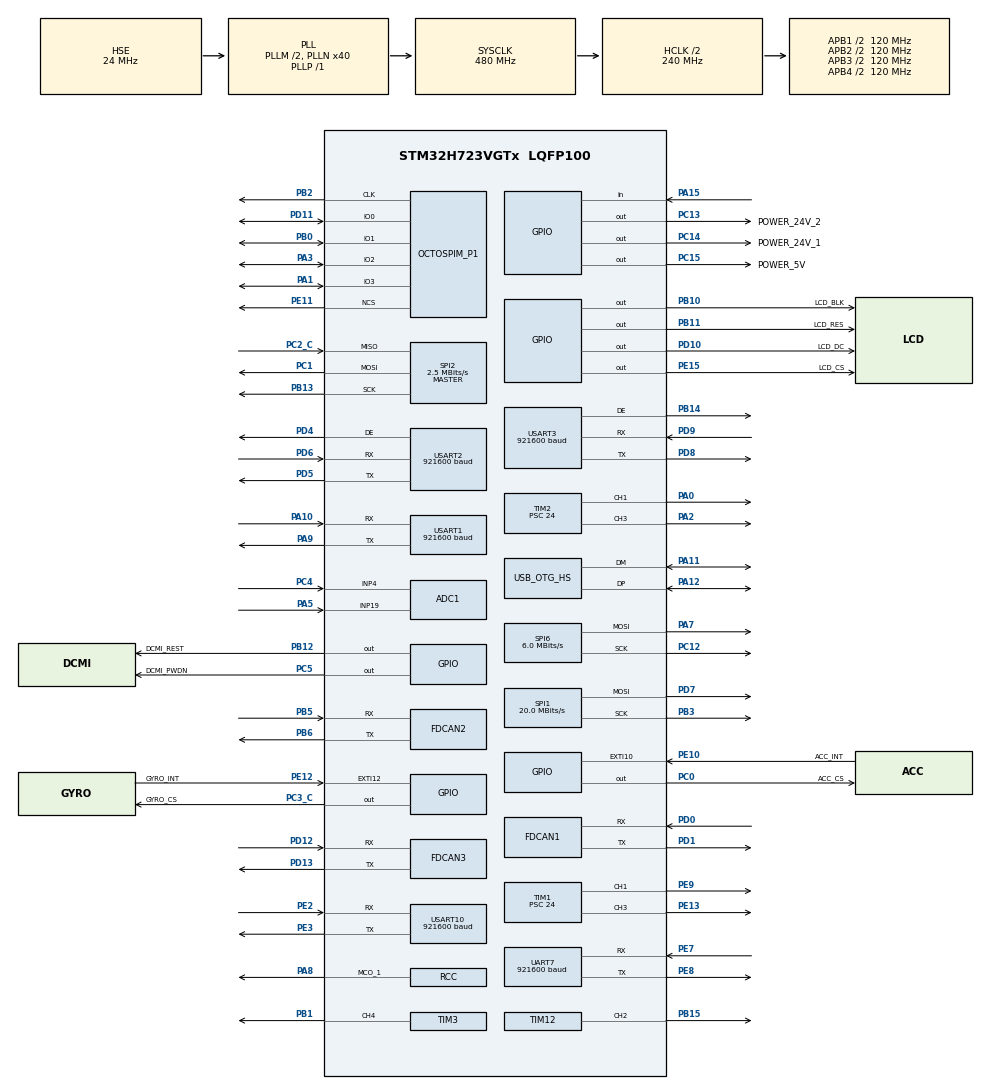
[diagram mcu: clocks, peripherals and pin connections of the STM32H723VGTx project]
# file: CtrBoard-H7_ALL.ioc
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ADC1.Channel-0\#ChannelRegularConversion=ADC_CHANNEL_4
ADC1.Channel-1\#ChannelRegularConversion=ADC_CHANNEL_19
ADC1.ClockPrescaler=ADC_CLOCK_ASYNC_DIV64
ADC1.ContinuousConvMode=ENABLE
ADC1.ConversionDataManagement=ADC_CONVERSIONDATA_DMA_CIRCULAR
ADC1.NbrOfConversion=2
ADC1.NbrOfConversionFlag=1
ADC1.OffsetNumber-0\#ChannelRegularConversion=ADC_OFFSET_NONE
ADC1.OffsetNumber-1\#ChannelRegularConversion=ADC_OFFSET_NONE
ADC1.OffsetSignedSaturation-0\#ChannelRegularConversion=DISABLE
ADC1.OffsetSignedSaturation-1\#ChannelRegularConversion=DISABLE
ADC1.Rank-0\#ChannelRegularConversion=1
ADC1.Rank-1\#ChannelRegularConversion=2
ADC1.SamplingTime-0\#ChannelRegularConversion=ADC_SAMPLETIME_32CYCLES_5
ADC1.SamplingTime-1\#ChannelRegularConversion=ADC_SAMPLETIME_32CYCLES_5
ADC1.master=1
CORTEX_M7.BaseAddress-Cortex_Memory_Protection_Unit_Region0_Settings=0x24000000
CORTEX_M7.CPU_DCache=Disabled
CORTEX_M7.CPU_ICache=Disabled
CORTEX_M7.Enable-Cortex_Memory_Protection_Unit_Region0_Settings=MPU_REGION_ENABLE
CORTEX_M7.IsBufferable-Cortex_Memory_Protection_Unit_Region0_Settings=MPU_ACCESS_BUFFERABLE
CORTEX_M7.IsCacheable-Cortex_Memory_Protection_Unit_Region0_Settings=MPU_ACCESS_CACHEABLE
CORTEX_M7.MPU_Control=__NULL
CORTEX_M7.Size-Cortex_Memory_Protection_Unit_Region0_Settings=MPU_REGION_SIZE_512B
CORTEX_M7.TypeExtField-Cortex_Memory_Protection_Unit_Region0_Settings=MPU_TEX_LEVEL1
Dma.ADC1.0.Direction=DMA_PERIPH_TO_MEMORY
Dma.ADC1.0.EventEnable=DISABLE
Dma.ADC1.0.FIFOMode=DMA_FIFOMODE_DISABLE
Dma.ADC1.0.Instance=DMA1_Stream0
Dma.ADC1.0.MemDataAlignment=DMA_MDATAALIGN_HALFWORD
Dma.ADC1.0.MemInc=DMA_MINC_ENABLE
Dma.ADC1.0.Mode=DMA_CIRCULAR
Dma.ADC1.0.PeriphDataAlignment=DMA_PDATAALIGN_HALFWORD
Dma.ADC1.0.PeriphInc=DMA_PINC_DISABLE
Dma.ADC1.0.Polarity=HAL_DMAMUX_REQ_GEN_RISING
Dma.ADC1.0.Priority=DMA_PRIORITY_LOW
Dma.ADC1.0.RequestNumber=1
Dma.ADC1.0.SignalID=NONE
Dma.ADC1.0.SyncEnable=DISABLE
Dma.ADC1.0.SyncPolarity=HAL_DMAMUX_SYNC_NO_EVENT
Dma.ADC1.0.SyncRequestNumber=1
Dma.ADC1.0.SyncSignalID=NONE
Dma.Request0=ADC1
FDCAN1.AutoRetransmission=ENABLE
FDCAN1.CalculateBaudRateNominal=1000000
FDCAN1.CalculateTimeBitNominal=1000
FDCAN1.CalculateTimeQuantumNominal=12.5
FDCAN1.DataSyncJumpWidth=2
FDCAN1.DataTimeSeg1=13
FDCAN1.DataTimeSeg2=2
FDCAN1.ExtFiltersNbr=4
FDCAN1.FrameFormat=FDCAN_FRAME_FD_BRS
FDCAN1.NominalPrescaler=1
FDCAN1.NominalSyncJumpWidth=20
FDCAN1.NominalTimeSeg1=59
FDCAN1.NominalTimeSeg2=20
FDCAN1.ProtocolException=ENABLE
FDCAN1.RxBuffersNbr=2
FDCAN1.RxFifo0ElmtsNbr=10
FDCAN1.RxFifo1ElmtsNbr=10
FDCAN1.StdFiltersNbr=4
FDCAN1.TxBuffersNbr=10
FDCAN1.TxEventsNbr=10
FDCAN1.TxFifoQueueElmtsNbr=10
FDCAN2.CalculateBaudRateNominal=666666
FDCAN2.CalculateTimeBitNominal=1500
FDCAN2.CalculateTimeQuantumNominal=300.0
FDCAN2.MessageRAMOffset=0x406
FDCAN2.NominalPrescaler=24
FDCAN2.RxFifo0ElmtsNbr=32
FDCAN2.StdFiltersNbr=1
FDCAN2.TxFifoQueueElmtsNbr=32
FDCAN3.CalculateBaudRateNominal=666666
FDCAN3.CalculateTimeBitNominal=1500
FDCAN3.CalculateTimeQuantumNominal=300.0
FDCAN3.MessageRAMOffset=0x812
FDCAN3.NominalPrescaler=24
FDCAN3.RxFifo0ElmtsNbr=32
FDCAN3.StdFiltersNbr=1
FDCAN3.TxFifoQueueElmtsNbr=32
FREERTOS.INCLUDE_eTaskGetState=1
FREERTOS.INCLUDE_uxTaskGetStackHighWaterMark=1
FREERTOS.INCLUDE_vTaskDelayUntil=1
FREERTOS.INCLUDE_xQueueGetMutexHolder=1
FREERTOS.INCLUDE_xTaskGetCurrentTaskHandle=1
FREERTOS.INCLUDE_xTimerPendFunctionCall=1
FREERTOS.Tasks01=defaultTask,0,128,StartDefaultTask,Default,NULL,Dynamic,NULL,NULL;KeyTask,3,128,KeyTask_Entry,As weak,NULL,Static,KeyTaskBuffer,KeyTaskControlBlock;LcdTask,0,256,LcdTask_Entry,As weak,NULL,Static,LcdTaskBuffer,LcdTaskControlBlock;ImuTask,2,1024,ImuTask_Entry,As weak,NULL,Static,ImuTaskBuffer,ImuTaskControlBlock;FunTest,-1,128,FunTest_Entry,As weak,NULL,Static,FunTestBuffer,FunTestControlBlock
FREERTOS.configENABLE_FPU=1
FREERTOS.configUSE_COUNTING_SEMAPHORES=1
FREERTOS.configUSE_RECURSIVE_MUTEXES=1
FREERTOS.configUSE_TIMERS=1
FREERTOS.configUSE_TRACE_FACILITY=1
Mcu.Family=STM32H7
Mcu.Name=STM32H723VGTx
Mcu.Package=LQFP100
NVIC.DMA1_Stream0_IRQn=true\:5\:0\:false\:false\:true\:false\:false\:true\:true
NVIC.FDCAN1_IT0_IRQn=true\:5\:0\:false\:false\:true\:true\:true\:true\:true
NVIC.FDCAN1_IT1_IRQn=true\:5\:0\:false\:false\:true\:true\:true\:true\:true
NVIC.FDCAN2_IT0_IRQn=true\:5\:0\:false\:false\:true\:true\:true\:true\:true
NVIC.FDCAN2_IT1_IRQn=true\:5\:0\:false\:false\:true\:true\:true\:true\:true
NVIC.FDCAN3_IT0_IRQn=true\:5\:0\:false\:false\:true\:true\:true\:true\:true
NVIC.FDCAN3_IT1_IRQn=true\:5\:0\:false\:false\:true\:true\:true\:true\:true
NVIC.OTG_HS_IRQn=true\:5\:0\:false\:false\:true\:true\:false\:true\:true
NVIC.PriorityGroup=NVIC_PRIORITYGROUP_4
NVIC.TIM23_IRQn=true\:15\:0\:false\:false\:true\:false\:false\:true\:true
NVIC.TimeBase=TIM23_IRQn
NVIC.TimeBaseIP=TIM23
NVIC.UART7_IRQn=true\:5\:0\:true\:false\:true\:false\:true\:true\:true
NVIC.USART10_IRQn=true\:5\:0\:true\:false\:true\:false\:true\:true\:true
NVIC.USART1_IRQn=true\:5\:0\:true\:false\:true\:false\:true\:true\:true
NVIC.USART2_IRQn=true\:5\:0\:true\:false\:true\:false\:true\:true\:true
NVIC.USART3_IRQn=true\:5\:0\:true\:false\:true\:false\:true\:true\:true
OCTOSPI2.ClockMode=HAL_OSPI_CLOCK_MODE_3
OCTOSPI2.ClockPrescaler=3
OCTOSPI2.DeviceSize=23
OCTOSPI2.DeviceType=SPI_DEVICE_FLASH
OCTOSPI2.FifoThreshold=8
OCTOSPI2.SampleShifting=HAL_OSPI_SAMPLE_SHIFTING_HALFCYCLE
PA0.Signal=S_TIM2_CH1_ETR
PA1.Mode=OCTOSPI2_IOL_Port1L
PA1.Signal=OCTOSPIM_P1_IO3
PA10.Mode=Asynchronous
PA10.Signal=USART1_RX
PA11.Mode=Device_Only_FS
PA11.Signal=USB_OTG_HS_DM
PA12.Mode=Device_Only_FS
PA12.Signal=USB_OTG_HS_DP
PA13(JTMS/SWDIO).Mode=Serial_Wire
PA13(JTMS/SWDIO).Signal=DEBUG_JTMS-SWDIO
PA14(JTCK/SWCLK).Mode=Serial_Wire
PA14(JTCK/SWCLK).Signal=DEBUG_JTCK-SWCLK
PA15(JTDI).Signal=GPIO_Input
PA2.Signal=S_TIM2_CH3
PA3.Mode=OCTOSPI2_IOL_Port1L
PA3.Signal=OCTOSPIM_P1_IO2
PA5.Signal=ADCx_INP19
PA7.Mode=TX_Only_Simplex_Unidirect_Master
PA7.Signal=SPI6_MOSI
PA8.Mode=Clock-out-1
PA8.Signal=RCC_MCO_1
PA9.Mode=Asynchronous
PA9.Signal=USART1_TX
PB0.Mode=OCTOSPI2_IOL_Port1L
PB0.Signal=OCTOSPIM_P1_IO1
PB1.Signal=S_TIM3_CH4
PB10.GPIO_Label=LCD_BLK
PB10.Signal=GPIO_Output
PB11.GPIO_Label=LCD_RES
PB11.Signal=GPIO_Output
PB12.GPIO_Label=DCMI_REST
PB12.GPIO_PuPd=GPIO_PULLUP
PB12.GPIO_Speed=GPIO_SPEED_FREQ_VERY_HIGH
PB12.PinState=GPIO_PIN_SET
PB12.Signal=GPIO_Output
PB13.GPIO_Speed=GPIO_SPEED_FREQ_VERY_HIGH
PB13.Mode=Full_Duplex_Master
PB13.Signal=SPI2_SCK
PB14.Mode=Hardware Flow Control (RS485)
PB14.Signal=USART3_DE
PB15.Signal=S_TIM12_CH2
PB2.Mode=O2_P1_CLK
PB2.Signal=OCTOSPIM_P1_CLK
PB3(JTDO/TRACESWO).GPIO_Speed=GPIO_SPEED_FREQ_VERY_HIGH
PB3(JTDO/TRACESWO).Mode=TX_Only_Simplex_Unidirect_Master
PB3(JTDO/TRACESWO).Signal=SPI1_SCK
PB5.Mode=FDCAN_Activate
PB5.Signal=FDCAN2_RX
PB6.Mode=FDCAN_Activate
PB6.Signal=FDCAN2_TX
PC0.GPIO_Label=ACC_CS
PC0.GPIO_Speed=GPIO_SPEED_FREQ_VERY_HIGH
PC0.PinState=GPIO_PIN_SET
PC0.Signal=GPIO_Output
PC1.GPIO_Speed=GPIO_SPEED_FREQ_VERY_HIGH
PC1.Mode=Full_Duplex_Master
PC1.Signal=SPI2_MOSI
PC12.Mode=TX_Only_Simplex_Unidirect_Master
PC12.Signal=SPI6_SCK
PC13.GPIO_Label=POWER_24V_2
PC13.PinState=GPIO_PIN_SET
PC13.Signal=GPIO_Output
PC14-OSC32_IN.GPIO_Label=POWER_24V_1
PC14-OSC32_IN.PinState=GPIO_PIN_SET
PC14-OSC32_IN.Signal=GPIO_Output
PC15-OSC32_OUT.GPIO_Label=POWER_5V
PC15-OSC32_OUT.PinState=GPIO_PIN_SET
PC15-OSC32_OUT.Signal=GPIO_Output
PC2_C.GPIO_Speed=GPIO_SPEED_FREQ_VERY_HIGH
PC2_C.Mode=Full_Duplex_Master
PC2_C.Signal=SPI2_MISO
PC3_C.GPIO_Label=GYRO_CS
PC3_C.GPIO_Speed=GPIO_SPEED_FREQ_VERY_HIGH
PC3_C.PinState=GPIO_PIN_SET
PC3_C.Signal=GPIO_Output
PC4.Signal=ADCx_INP4
PC5.GPIO_Label=DCMI_PWDN
PC5.GPIO_PuPd=GPIO_NOPULL
PC5.GPIO_Speed=GPIO_SPEED_FREQ_VERY_HIGH
PC5.PinState=GPIO_PIN_SET
PC5.Signal=GPIO_Output
PD0.Mode=FDCAN_Activate
PD0.Signal=FDCAN1_RX
PD1.Mode=FDCAN_Activate
PD1.Signal=FDCAN1_TX
PD10.GPIO_Label=LCD_DC
PD10.Signal=GPIO_Output
PD11.Mode=OCTOSPI2_IOL_Port1L
PD11.Signal=OCTOSPIM_P1_IO0
PD12.Mode=FDCAN_Activate
PD12.Signal=FDCAN3_RX
PD13.Mode=FDCAN_Activate
PD13.Signal=FDCAN3_TX
PD4.Mode=Hardware Flow Control (RS485)
PD4.Signal=USART2_DE
PD5.Mode=Asynchronous
PD5.Signal=USART2_TX
PD6.Mode=Asynchronous
PD6.Signal=USART2_RX
PD7.GPIO_Speed=GPIO_SPEED_FREQ_VERY_HIGH
PD7.Mode=TX_Only_Simplex_Unidirect_Master
PD7.Signal=SPI1_MOSI
PD8.Mode=Asynchronous
PD8.Signal=USART3_TX
PD9.Mode=Asynchronous
PD9.Signal=USART3_RX
PE10.GPIO_Label=ACC_INT
PE10.Signal=GPXTI10
PE11.Mode=OCTOSPI2_Port1_NCS
PE11.Signal=OCTOSPIM_P1_NCS
PE12.GPIO_Label=GYRO_INT
PE12.Signal=GPXTI12
PE13.Signal=S_TIM1_CH3
PE15.GPIO_Label=LCD_CS
PE15.Signal=GPIO_Output
PE2.Mode=Asynchronous
PE2.Signal=USART10_RX
PE3.Mode=Asynchronous
PE3.Signal=USART10_TX
PE7.Mode=Asynchronous
PE7.Signal=UART7_RX
PE8.Mode=Asynchronous
PE8.Signal=UART7_TX
PE9.Signal=S_TIM1_CH1
PH0-OSC_IN.Mode=HSE-External-Oscillator
PH0-OSC_IN.Signal=RCC_OSC_IN
PH1-OSC_OUT.Mode=HSE-External-Oscillator
PH1-OSC_OUT.Signal=RCC_OSC_OUT
ProjectManager.HeapSize=0x2000
ProjectManager.StackSize=0x800
ProjectManager.TargetToolchain=MDK-ARM V5.27
RCC.ADCFreq_Value=96000000
RCC.APB1Freq_Value=120000000
RCC.APB2Freq_Value=120000000
RCC.APB3Freq_Value=120000000
RCC.APB4Freq_Value=120000000
RCC.CortexFreq_Value=480000000
RCC.D1PPRE=RCC_APB3_DIV2
RCC.D2PPRE1=RCC_APB1_DIV2
RCC.D2PPRE2=RCC_APB2_DIV2
RCC.D3PPRE=RCC_APB4_DIV2
RCC.DIVM1=2
RCC.DIVM2=2
RCC.DIVN1=40
RCC.DIVN2=16
RCC.DIVP1=1
RCC.DIVQ1=6
RCC.EnbaleCSS=false
RCC.HCLKFreq_Value=240000000
RCC.HPRE=RCC_HCLK_DIV2
RCC.HSE_VALUE=24000000
RCC.PLL2FRACN=0
RCC.PLL2_VCI_Range-AdvancedSettings=RCC_PLL2VCIRANGE_0
RCC.PLL2_VCO_SEL-AdvancedSettings=RCC_PLL2VCOWIDE
RCC.PLL3FRACN=0
RCC.PLL3_VCO_SEL-AdvancedSettings=RCC_PLL3VCOMEDIUM
RCC.PLLFRACN=0
RCC.PLLSourceVirtual=RCC_PLLSOURCE_HSE
RCC.SPI6CLockSelection=RCC_SPI6CLKSOURCE_HSE
RCC.SYSCLKFreq_VALUE=480000000
RCC.SYSCLKSource=RCC_SYSCLKSOURCE_PLLCLK
RCC.USBCLockSelection=RCC_USBCLKSOURCE_HSI48
RCC.USBFreq_Value=48000000
SH.ADCx_INP19.0=ADC1_INP19,IN19-Single-Ended
SH.ADCx_INP4.0=ADC1_INP4,IN4-Single-Ended
SH.S_TIM12_CH2.0=TIM12_CH2,PWM Generation2 CH2
SH.S_TIM1_CH1.0=TIM1_CH1,PWM Generation1 CH1
SH.S_TIM1_CH3.0=TIM1_CH3,PWM Generation3 CH3
SH.S_TIM2_CH1_ETR.0=TIM2_CH1,PWM Generation1 CH1
SH.S_TIM2_CH3.0=TIM2_CH3,PWM Generation3 CH3
SH.S_TIM3_CH4.0=TIM3_CH4,PWM Generation4 CH4
SPI1.BaudRatePrescaler=SPI_BAUDRATEPRESCALER_4
SPI1.CLKPolarity=SPI_POLARITY_HIGH
SPI1.CalculateBaudRate=20.0 MBits/s
SPI1.DataSize=SPI_DATASIZE_8BIT
SPI1.Direction=SPI_DIRECTION_2LINES_TXONLY
SPI1.Mode=SPI_MODE_MASTER
SPI1.VirtualType=VM_MASTER
SPI2.BaudRatePrescaler=SPI_BAUDRATEPRESCALER_32
SPI2.CLKPhase=SPI_PHASE_2EDGE
SPI2.CLKPolarity=SPI_POLARITY_HIGH
SPI2.CalculateBaudRate=2.5 MBits/s
SPI2.DataSize=SPI_DATASIZE_8BIT
SPI2.Direction=SPI_DIRECTION_2LINES
SPI2.Mode=SPI_MODE_MASTER
SPI2.VirtualType=VM_MASTER
SPI6.BaudRatePrescaler=SPI_BAUDRATEPRESCALER_4
SPI6.CLKPhase=SPI_PHASE_2EDGE
SPI6.CalculateBaudRate=6.0 MBits/s
SPI6.DataSize=SPI_DATASIZE_8BIT
SPI6.Direction=SPI_DIRECTION_2LINES_TXONLY
SPI6.Mode=SPI_MODE_MASTER
SPI6.VirtualType=VM_MASTER
TIM1.Channel-PWM\ Generation1\ CH1=TIM_CHANNEL_1
TIM1.Channel-PWM\ Generation3\ CH3=TIM_CHANNEL_3
TIM1.Period=10000
TIM1.Prescaler=24
TIM1.Pulse-PWM\ Generation1\ CH1=5000
TIM1.Pulse-PWM\ Generation3\ CH3=5000
TIM12.Channel-PWM\ Generation2\ CH2=TIM_CHANNEL_2
TIM12.Period=2000-1
TIM12.Prescaler=24-1
TIM2.Channel-PWM\ Generation1\ CH1=TIM_CHANNEL_1
TIM2.Channel-PWM\ Generation3\ CH3=TIM_CHANNEL_3
TIM2.Period=10000
TIM2.Prescaler=24
TIM2.Pulse-PWM\ Generation1\ CH1=5000
TIM2.Pulse-PWM\ Generation3\ CH3=5000
TIM3.AutoReloadPreload=TIM_AUTORELOAD_PRELOAD_ENABLE
TIM3.Channel-PWM\ Generation4\ CH4=TIM_CHANNEL_4
TIM3.Period=10000-1
TIM3.Prescaler=24-1
UART7.BaudRate=921600
USART1.BaudRate=921600
USART1.VirtualMode-Asynchronous=VM_ASYNC
USART10.BaudRate=921600
USART10.VirtualMode=VM_ASYNC
USART2.BaudRate=921600
USART2.VirtualMode-Asynchronous=VM_ASYNC
USART2.VirtualMode-Hardware\ Flow\ Control\ (RS485)=VM_ASYNC
USART3.BaudRate=921600
USART3.VirtualMode-Asynchronous=VM_ASYNC
USART3.VirtualMode-Hardware\ Flow\ Control\ (RS485)=VM_ASYNC
USB_DEVICE.CLASS_NAME_HS=CDC
USB_DEVICE.VirtualMode=Cdc
USB_DEVICE.VirtualModeHS=Cdc_HS
USB_OTG_HS.VirtualMode-Device_Only_FS=Device_Only_FS
VP_FREERTOS_VS_CMSIS_V1.Mode=CMSIS_V1
VP_OCTOSPI2_VS_quad.Mode=quad_mode
VP_SYS_VS_tim23.Mode=TIM23
VP_USB_DEVICE_VS_USB_DEVICE_CDC_HS.Mode=CDC_HS
board=custom

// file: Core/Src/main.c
/* USER CODE BEGIN Header */
/**
  ******************************************************************************
  * @file           : main.c
  * @brief          : Main program body
  ******************************************************************************
  * @attention
  *
  * Copyright (c) 2024 STMicroelectronics.
  * All rights reserved.
  *
  * This software is licensed under terms that can be found in the LICENSE file
  * in the root directory of this software component.
  * If no LICENSE file comes with this software, it is provided AS-IS.
  *
  ******************************************************************************
  */
/* USER CODE END Header */
#include "main.h"
#include "cmsis_os.h"
#include "adc.h"
#include "dma.h"
#include "fdcan.h"
#include "octospi.h"
#include "spi.h"
#include "tim.h"
#include "usart.h"
#include "usb_device.h"
#include "gpio.h"

/* USER CODE BEGIN Includes */
#include "vofa.h"
#include "w25q64.h"
#include <stdio.h>
#include <string.h>
#include "bsp_fdcan.h"
/* USER CODE END Includes */

/* USER CODE BEGIN PD */
#define RESPONSE_OK(__MODE__) do {\
  memset(tx_temp_buffer, 0, RX_LEN);\
  memcpy(tx_temp_buffer, __MODE__, status_code_len);\
  tx_temp_buffer[status_code_len + 1] = '\r';\
  tx_temp_buffer[status_code_len + 2] = 0;\
  HAL_UART_Transmit(&huart1, tx_temp_buffer, status_code_len + 2, 100);\
} while (0);
/* USER CODE END PD */

/* USER CODE BEGIN PV */
#define W25Qxx_NumByteToTest   	32*1024					// 测试数据的长度，32K

int32_t OSPI_Status; 		 //检测标志位

uint8_t  W25Qxx_WriteBuffer[W25Qxx_NumByteToTest];		//	写数据数组
uint8_t  W25Qxx_ReadBuffer[W25Qxx_NumByteToTest];		//	读数据数组

// **********************************缓冲区定义**********************************
#define RX_LEN 32*8*4 // 1KB接收缓冲区大小
__attribute__((aligned(32))) uint8_t rx_buffer[RX_LEN]; // H7要求32字节对齐
uint8_t tx_temp_buffer[RX_LEN]; // 发送1次时的缓冲区
uint8_t can1_id[6] = {0x01, 0x02, 0x03, 0x04, 0x05, 0x06}; // CAN1~6号CAN ID
uint8_t can1_tx_data[8] = {0x7F, 0xFF, 0x7F, 0xF0, 0x00, 0x00, 0x07, 0xFF}; // CAN1发送数据缓冲区
const char *cmd_ok = "CMDOK"; // 命令执行成功响应
const char *can_ok = "CANOK"; // CAN执行成功响应
const char *power_ok = "PWROK"; // 电源执行成功响应
const char *cmd_err = "ERROR"; // 命令执行失败响应
char *dm_init_status = "dmok1";
uint8_t status_code_len = 5;
const char *prefix = "Recv:"; // 接收数据前缀
uint8_t prefix_len = 0; // 前缀长度
uint8_t can_send_req_flag = 0; // 发送CAN数据请求标志位，volatile防止编译器优化
uint8_t can_data_buffer[RX_LEN]; // CAN接收数据缓冲区，存储STM32接收到的数据
extern uint8_t rx_data1[8]; // CAN1接收数据缓冲区，存储STM32接收到的数据
uint8_t last_can_rx_data1[8] = {0};
// uint16_t uart1_rx_size = 0;
uint8_t pos_code = 0;
// **********************************缓冲区定义**********************************
/* USER CODE END PV */

void SystemClock_Config(void);
void MX_FREERTOS_Init(void);

/* USER CODE BEGIN 0 */
/***************************************************************************************************
*	函数名称: OSPI_W25Qxx_Test
*	输入参数: 无
*	返回值: OSPI_W25Qxx_OK - 操作成功通过
*	函数功能: 测试外部SPI Flash的读写速度
*	说明    : 无
***************************************************************************************************/

int8_t OSPI_W25Qxx_Test(void)		//Flash读写测试
{
    uint32_t i = 0X8000;	// 计数变量
    uint32_t W25Qxx_TestAddr  =	0	;							// 测试地址
    uint32_t ExecutionTime_Begin;		// 开始时间
    uint32_t ExecutionTime_End;		// 结束时间
    uint32_t ExecutionTime;				// 执行时间
    float    ExecutionSpeed;			// 执行速度

// 擦除 >>>>>>>>>>>>>>>>>>>>>>>>>>>>>>>>>>>>>>>>>>>>>>>>>>>>>>>>>>>>>>>>>>>>>>>>>>>>>>>>>>>>>>

    ExecutionTime_Begin 	= HAL_GetTick();	// 获取 systick 当前时间，单位ms
    OSPI_Status 			= OSPI_W25Qxx_BlockErase_32K(W25Qxx_TestAddr);	// 擦除32K字节
    ExecutionTime_End		= HAL_GetTick();	// 获取 systick 当前时间，单位ms

    ExecutionTime = ExecutionTime_End - ExecutionTime_Begin; // 计算擦除时间，单位ms

    if( OSPI_Status == OSPI_W25Qxx_OK )
    {
        printf ("\r\nW25Q64 erase succeed, time: %d ms\r\n",ExecutionTime);
    }
    else
    {
        printf ("\r\n erase error!!!!!  ERROR CODE:%d\r\n",OSPI_Status);
        while (1);
    }

// 写入 >>>>>>>>>>>>>>>>>>>>>>>>>>>>>>>>>>>>>>>>>>>>>>>>>>>>>>>>>>>>>>>>>>>>>>>>>>>>>>>>>>>>>>

    for(i=0;i<W25Qxx_NumByteToTest;i++)  //先将数据写入数组
    {
        W25Qxx_WriteBuffer[i] = i;
    }
    ExecutionTime_Begin 	= HAL_GetTick();	// 获取 systick 当前时间，单位ms
    OSPI_Status				= OSPI_W25Qxx_WriteBuffer(W25Qxx_WriteBuffer,W25Qxx_TestAddr,W25Qxx_NumByteToTest); // 写数据
    ExecutionTime_End		= HAL_GetTick();	// 获取 systick 当前时间，单位ms

    ExecutionTime  = ExecutionTime_End - ExecutionTime_Begin; 		// 计算擦除时间，单位ms
    ExecutionSpeed = (float)W25Qxx_NumByteToTest / ExecutionTime ; // 计算写入速度，单位 KB/S
    if( OSPI_Status == OSPI_W25Qxx_OK )
    {
        printf ("\r\nwrite succeed, data size: %d KB, time: %d ms, speed: %.2f KB/s\r\n",W25Qxx_NumByteToTest/1024,ExecutionTime,ExecutionSpeed);
    }
    else
    {
        printf ("\r\nwrite error!!!!!  error code: %d\r\n",OSPI_Status);
        while (1);
    }

// 读取	>>>>>>>>>>>>>>>>>>>>>>>>>>>>>>>>>>>>>>>>>>>>>>>>>>>>>>>>>>>>>>>>>>>>>>>>>>>>>>>>>>>>>>

    ExecutionTime_Begin 	= HAL_GetTick();	// 获取 systick 当前时间，单位ms
    OSPI_Status				= OSPI_W25Qxx_ReadBuffer(W25Qxx_ReadBuffer,W25Qxx_TestAddr,W25Qxx_NumByteToTest);	// 读取数据
    ExecutionTime_End		= HAL_GetTick();	// 获取 systick 当前时间，单位ms

    ExecutionTime  = ExecutionTime_End - ExecutionTime_Begin; 					// 计算执行时间，单位ms
    ExecutionSpeed = (float)W25Qxx_NumByteToTest/1024/1024 / ExecutionTime*1000 ; 	// 计算读取速度，单位 MB/S

    if( OSPI_Status == OSPI_W25Qxx_OK )
    {
        printf ("\r\nread succeed, size: %d KB, time: %d ms, speed: %.2f MB/s \r\n",W25Qxx_NumByteToTest/1024,ExecutionTime,ExecutionSpeed);
    }
    else
    {
        printf ("\r\nread error!!!!!  error code:%d\r\n",OSPI_Status);
        while (1);
    }
// 数据校验 >>>>>>>>>>>>>>>>>>>>>>>>>>>>>>>>>>>>>>>>>>>>>>>>>>>>>>>>>>>>>>>>>>>>>>>>>>>>>>>>>>>>>>

    for(i=0;i<W25Qxx_NumByteToTest;i++)	//验证读取数据是否与写入数据一致
    {
        if( W25Qxx_WriteBuffer[i] != W25Qxx_ReadBuffer[i] )	//数据不一致，返回0
        {
            printf ("\r\ndata check error!!!!!pos: %d\r\n",i);
            while(1);
        }
    }
    printf ("\r\ncheck pass!!!!!\r\n");

// 读取整片Flash的数据，用以测试速度 >>>>>>>>>>>>>>>>>>>>>>>>>>>>>>>>>>>>>>>>>>>>>>>>>>>>>>>>>>>>>>

    printf ("\r\n*****************************************************************************************************\r\n");
    printf ("\r\nIn the above test, the data read is relatively small and takes a short time. In addition, the minimum unit of measurement is ms, and the calculated reading speed has a large error.\r\n");
    printf ("\r\nNext, read the entire flash data to test the speed. The speed error obtained in this way is relatively small.\r\n");
    printf ("\r\nread start>>>>\r\n");
    ExecutionTime_Begin 	= HAL_GetTick();	// 获取 systick 当前时间，单位ms

    for(i=0;i<W25Qxx_FlashSize/(W25Qxx_NumByteToTest);i++)	// 每次读取 W25Qxx_NumByteToTest 个字节的数据
    {
        OSPI_Status     = OSPI_W25Qxx_ReadBuffer(W25Qxx_ReadBuffer,W25Qxx_TestAddr,W25Qxx_NumByteToTest);	// 读取数据
        W25Qxx_TestAddr = W25Qxx_TestAddr + W25Qxx_NumByteToTest;
    }
    ExecutionTime_End   = HAL_GetTick();	// 获取 systick 当前时间，单位ms

    ExecutionTime       = ExecutionTime_End - ExecutionTime_Begin; 								// 计算执行时间，单位ms
    ExecutionSpeed      = (float)W25Qxx_FlashSize/1024/1024 / ExecutionTime*1000  ; 	// 计算读取速度，单位 MB/S

    if( OSPI_Status == OSPI_W25Qxx_OK )
    {
        printf ("\r\nread succeed, size: %d MB, time: %d ms, speed: %.2f MB/s \r\n",W25Qxx_FlashSize/1024/1024,ExecutionTime,ExecutionSpeed);
    }
    else
    {
        printf ("\r\nread error!!!!!  error code:%d\r\n",OSPI_Status);
        while (1);
    }

    return OSPI_W25Qxx_OK ;  // 操作成功

}

/**
  * @brief  Period elapsed callback in non blocking mode
  * @note   This function is called  when TIM23 interrupt took place, inside
  * HAL_TIM_IRQHandler(). It makes a direct call to HAL_IncTick() to increment
  * a global variable "uwTick" used as application time base.
  * @param  htim : TIM handle
  * @retval None
  */
void HAL_TIM_PeriodElapsedCallback(TIM_HandleTypeDef *htim)
{
  /* USER CODE BEGIN Callback 0 */
  /* USER CODE END Callback 0 */
  if (htim->Instance == TIM23) {
    HAL_IncTick();
  }
  /* USER CODE BEGIN Callback 1 */

  /* USER CODE END Callback 1 */
}
/* USER CODE END 0 */

int main(void)
{

  /* MCU Configuration--------------------------------------------------------*/

  /* Reset of all peripherals, Initializes the Flash interface and the Systick. */
  HAL_Init();

  /* Configure the system clock */
  SystemClock_Config();

  /* Initialize all configured peripherals */
  MX_GPIO_Init();
  MX_DMA_Init();
  MX_ADC1_Init();
  MX_TIM12_Init();
  MX_SPI1_Init();
  MX_SPI6_Init();
  MX_SPI2_Init();
  MX_TIM3_Init();
  MX_USART1_UART_Init();
  MX_USART2_UART_Init();
  MX_USART3_UART_Init();
  MX_UART7_Init();
  MX_USART10_UART_Init();
  MX_FDCAN1_Init();
  MX_FDCAN2_Init();
  MX_FDCAN3_Init();
  MX_TIM1_Init();
  MX_TIM2_Init();
  MX_OCTOSPI2_Init();
  /* USER CODE BEGIN 2 */
//    OSPI_W25Qxx_Init();     // 初始化OSPI和W25Q64
//    OSPI_W25Qxx_Test();     // Flash读写测试
  /* Power on 24V for CAN transceivers */
  HAL_GPIO_WritePin(GPIOC, POWER_24V_1_Pin, GPIO_PIN_SET);
  HAL_Delay(1000);

  /* USER CODE END 2 */

  /* Call init function for freertos objects (in freertos.c) */
  MX_FREERTOS_Init();

  /* Start scheduler */
  osKernelStart();

  /* We should never get here as control is now taken by the scheduler */
  /* Infinite loop */
  while (1)
  {

  }
}

void SystemClock_Config(void)
{
  RCC_OscInitTypeDef RCC_OscInitStruct = {0};
  RCC_ClkInitTypeDef RCC_ClkInitStruct = {0};

  /** Supply configuration update enable
  */
  HAL_PWREx_ConfigSupply(PWR_LDO_SUPPLY);

  /** Configure the main internal regulator output voltage
  */
  __HAL_PWR_VOLTAGESCALING_CONFIG(PWR_REGULATOR_VOLTAGE_SCALE0);

  while(!__HAL_PWR_GET_FLAG(PWR_FLAG_VOSRDY)) {}

  /** Initializes the RCC Oscillators according to the specified parameters
  * in the RCC_OscInitTypeDef structure.
  */
  RCC_OscInitStruct.OscillatorType = RCC_OSCILLATORTYPE_HSI48|RCC_OSCILLATORTYPE_HSI
                              |RCC_OSCILLATORTYPE_HSE;
  RCC_OscInitStruct.HSEState = RCC_HSE_ON;
  RCC_OscInitStruct.HSIState = RCC_HSI_DIV1;
  RCC_OscInitStruct.HSICalibrationValue = 64;
  RCC_OscInitStruct.HSI48State = RCC_HSI48_ON;
  RCC_OscInitStruct.PLL.PLLState = RCC_PLL_ON;
  RCC_OscInitStruct.PLL.PLLSource = RCC_PLLSOURCE_HSE;
  RCC_OscInitStruct.PLL.PLLM = 2;
  RCC_OscInitStruct.PLL.PLLN = 40;
  RCC_OscInitStruct.PLL.PLLP = 1;
  RCC_OscInitStruct.PLL.PLLQ = 6;
  RCC_OscInitStruct.PLL.PLLR = 2;
  RCC_OscInitStruct.PLL.PLLRGE = RCC_PLL1VCIRANGE_3;
  RCC_OscInitStruct.PLL.PLLVCOSEL = RCC_PLL1VCOWIDE;
  RCC_OscInitStruct.PLL.PLLFRACN = 0;
  if (HAL_RCC_OscConfig(&RCC_OscInitStruct) != HAL_OK)
  {
    Error_Handler();
  }

  /** Initializes the CPU, AHB and APB buses clocks
  */
  RCC_ClkInitStruct.ClockType = RCC_CLOCKTYPE_HCLK|RCC_CLOCKTYPE_SYSCLK
                              |RCC_CLOCKTYPE_PCLK1|RCC_CLOCKTYPE_PCLK2
                              |RCC_CLOCKTYPE_D3PCLK1|RCC_CLOCKTYPE_D1PCLK1;
  RCC_ClkInitStruct.SYSCLKSource = RCC_SYSCLKSOURCE_PLLCLK;
  RCC_ClkInitStruct.SYSCLKDivider = RCC_SYSCLK_DIV1;
  RCC_ClkInitStruct.AHBCLKDivider = RCC_HCLK_DIV2;
  RCC_ClkInitStruct.APB3CLKDivider = RCC_APB3_DIV2;
  RCC_ClkInitStruct.APB1CLKDivider = RCC_APB1_DIV2;
  RCC_ClkInitStruct.APB2CLKDivider = RCC_APB2_DIV2;
  RCC_ClkInitStruct.APB4CLKDivider = RCC_APB4_DIV2;

  if (HAL_RCC_ClockConfig(&RCC_ClkInitStruct, FLASH_LATENCY_3) != HAL_OK)
  {
    Error_Handler();
  }
  HAL_RCC_MCOConfig(RCC_MCO1, RCC_MCO1SOURCE_HSI, RCC_MCODIV_1);
}

/* USER CODE END 4 */

void Error_Handler(void)
{
  __disable_irq();
  while (1)
  {
	}
}

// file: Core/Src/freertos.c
/* USER CODE BEGIN Header */
/**
  ******************************************************************************
  * File Name          : freertos.c
  * Description        : Code for freertos applications
  ******************************************************************************
  * @attention
  *
  * Copyright (c) 2024 STMicroelectronics.
  * All rights reserved.
  *
  * This software is licensed under terms that can be found in the LICENSE file
  * in the root directory of this software component.
  * If no LICENSE file comes with this software, it is provided AS-IS.
  *
  ******************************************************************************
  */
/* USER CODE END Header */

#include "FreeRTOS.h"
#include "task.h"
#include "main.h"
#include "cmsis_os.h"

osThreadId defaultTaskHandle;
osThreadId KeyTaskHandle;
uint32_t KeyTaskBuffer[ 128 ];
osStaticThreadDef_t KeyTaskControlBlock;
osThreadId LcdTaskHandle;
uint32_t LcdTaskBuffer[ 256 ];
osStaticThreadDef_t LcdTaskControlBlock;
osThreadId ImuTaskHandle;
uint32_t ImuTaskBuffer[ 1024 ];
osStaticThreadDef_t ImuTaskControlBlock;
osThreadId MotorTaskHandle;
uint32_t MotorTaskBuffer[ 512 ];
osStaticThreadDef_t MotorTaskControlBlock;

void StartDefaultTask(void const * argument);
void KeyTask_Entry(void const * argument);
void LcdTask_Entry(void const * argument);
void ImuTask_Entry(void const * argument);
void MotorTask_Entry(void const * argument);

extern void MX_USB_DEVICE_Init(void);
void MX_FREERTOS_Init(void); /* (MISRA C 2004 rule 8.1) */

/* GetIdleTaskMemory prototype (linked to static allocation support) */
void vApplicationGetIdleTaskMemory( StaticTask_t **ppxIdleTaskTCBBuffer, StackType_t **ppxIdleTaskStackBuffer, uint32_t *pulIdleTaskStackSize );

/* GetTimerTaskMemory prototype (linked to static allocation support) */
void vApplicationGetTimerTaskMemory( StaticTask_t **ppxTimerTaskTCBBuffer, StackType_t **ppxTimerTaskStackBuffer, uint32_t *pulTimerTaskStackSize );

/* USER CODE BEGIN GET_IDLE_TASK_MEMORY */
static StaticTask_t xIdleTaskTCBBuffer;
static StackType_t xIdleStack[configMINIMAL_STACK_SIZE];

void vApplicationGetIdleTaskMemory( StaticTask_t **ppxIdleTaskTCBBuffer, StackType_t **ppxIdleTaskStackBuffer, uint32_t *pulIdleTaskStackSize )
{
  *ppxIdleTaskTCBBuffer = &xIdleTaskTCBBuffer;
  *ppxIdleTaskStackBuffer = &xIdleStack[0];
  *pulIdleTaskStackSize = configMINIMAL_STACK_SIZE;
  /* place for user code */
}
/* USER CODE END GET_IDLE_TASK_MEMORY */

/* USER CODE BEGIN GET_TIMER_TASK_MEMORY */
static StaticTask_t xTimerTaskTCBBuffer;
static StackType_t xTimerStack[configTIMER_TASK_STACK_DEPTH];

void vApplicationGetTimerTaskMemory( StaticTask_t **ppxTimerTaskTCBBuffer, StackType_t **ppxTimerTaskStackBuffer, uint32_t *pulTimerTaskStackSize )
{
  *ppxTimerTaskTCBBuffer = &xTimerTaskTCBBuffer;
  *ppxTimerTaskStackBuffer = &xTimerStack[0];
  *pulTimerTaskStackSize = configTIMER_TASK_STACK_DEPTH;
  /* place for user code */
}
/* USER CODE END GET_TIMER_TASK_MEMORY */

void MX_FREERTOS_Init(void) {

  /* Create the thread(s) */
  /* definition and creation of defaultTask */
  osThreadDef(defaultTask, StartDefaultTask, osPriorityNormal, 0, 128);
  defaultTaskHandle = osThreadCreate(osThread(defaultTask), NULL);

  /* definition and creation of KeyTask */
  osThreadStaticDef(KeyTask, KeyTask_Entry, osPriorityRealtime, 0, 128, KeyTaskBuffer, &KeyTaskControlBlock);
  KeyTaskHandle = osThreadCreate(osThread(KeyTask), NULL);

  /* definition and creation of LcdTask */
  osThreadStaticDef(LcdTask, LcdTask_Entry, osPriorityNormal, 0, 256, LcdTaskBuffer, &LcdTaskControlBlock);
  LcdTaskHandle = osThreadCreate(osThread(LcdTask), NULL);

  /* definition and creation of ImuTask */
  osThreadStaticDef(ImuTask, ImuTask_Entry, osPriorityHigh, 0, 1024, ImuTaskBuffer, &ImuTaskControlBlock);
  ImuTaskHandle = osThreadCreate(osThread(ImuTask), NULL);

  /* definition and creation of MotorTask */
  osThreadStaticDef(MotorTask, MotorTask_Entry, osPriorityRealtime, 0, 512, MotorTaskBuffer, &MotorTaskControlBlock);
  MotorTaskHandle = osThreadCreate(osThread(MotorTask), NULL);

}

void StartDefaultTask(void const * argument)
{
  /* init code for USB_DEVICE */
  MX_USB_DEVICE_Init();
  for(;;)
  {
    osDelay(1);
  }
}

__weak void KeyTask_Entry(void const * argument)
{
  for(;;)
  {
    osDelay(1);
  }
}

__weak void LcdTask_Entry(void const * argument)
{
  for(;;)
  {
    osDelay(1);
  }
}

__weak void ImuTask_Entry(void const * argument)
{
  for(;;)
  {
    osDelay(1);
  }
}

__weak void MotorTask_Entry(void const * argument)
{
  for(;;)
  {
    osDelay(1);
  }
}
